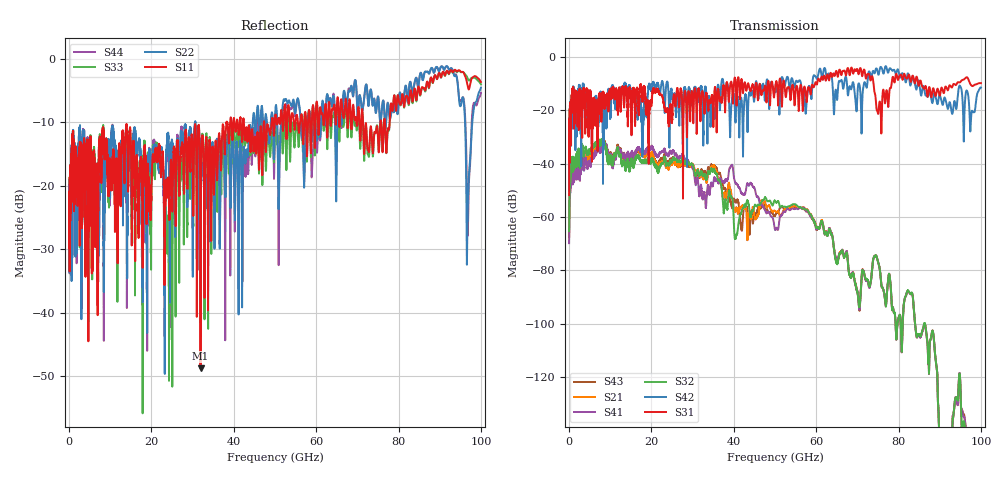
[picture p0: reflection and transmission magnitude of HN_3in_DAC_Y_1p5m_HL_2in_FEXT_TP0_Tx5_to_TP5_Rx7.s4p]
# GHz S RI R 45
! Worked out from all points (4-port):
!   4000 points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, 25 MHz to 100 GHz, reference 45 ohm
!   strongest paths, dB at 25 MHz, 25.02 GHz, 50.02 GHz, 75.03 GHz, 100 GHz:
!     S31: -51.8, -23.3, -11.7, -21.4, -9.9
!     S42: -50.1, -13.8, -13.1, -6.4, -11.5
!     S32: -65.3, -39.2, -53.9, -76.8, -183.0
!     S41: -69.8, -36.0, -64.7, -76.7, -183.6
!     S21: -67.5, -40.1, -57.8, -76.7, -181.0
!     S43: -67.3, -38.7, -59.4, -76.7, -184.8
!   lowest |S11| = -48.8 dB at 31.93 GHz (marker M1), VSWR 1.01, Z = 45.3 + j0.168 ohm
!   |S11| at or under -10 dB: start of sweep to 38.27 GHz; 42.47 GHz to 47.28 GHz (4.815 GHz wide, 10.7 % of centre); 71.39 GHz to 75.58 GHz (4.195 GHz wide, 5.71 % of centre) (the widest 3 of 34)
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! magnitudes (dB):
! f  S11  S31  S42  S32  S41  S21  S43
! 25 MHz  -24.7  -51.8  -50.1  -65.3  -69.8  -67.5  -67.3
! 1.2 GHz  -24.0  -26.9  -16.2  -40.3  -44.5  -42.5  -42.7
! 8.35 GHz  -11.2  -13.3  -33.3  -32.5  -33.3  -32.7  -32.4
! 31.93 GHz  -48.8  -23.7  -11.7  -43.5  -48.6  -44.8  -43.4
! 40.55 GHz  -11.3  -13.0  -20.3  -67.6  -47.4  -56.7  -54.3
! 68.38 GHz  -8.7  -5.0  -11.9  -82.4  -82.4  -82.2  -82.6
! 100 GHz  -3.6  -9.9  -11.5  -183.0  -183.6  -181.0  -184.8
